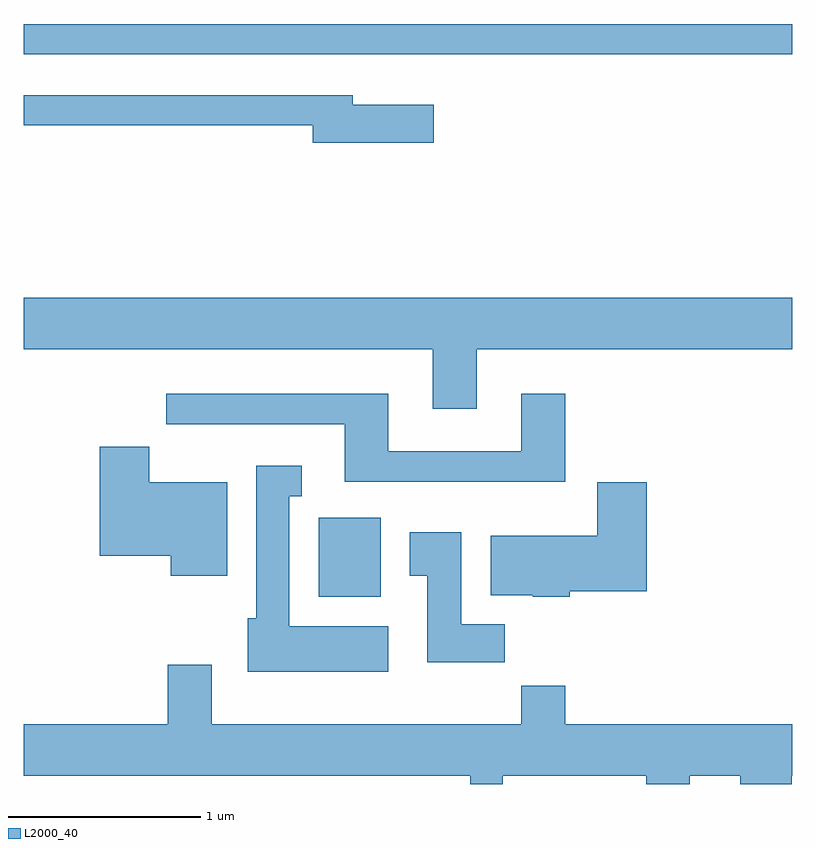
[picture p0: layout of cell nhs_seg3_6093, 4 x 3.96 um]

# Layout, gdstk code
import gdstk
lib = gdstk.Library(unit=1e-6, precision=1e-09)
def R(c, l, rs):  # rectangles x0, y0, x1, y1
    for r in rs: c.add(gdstk.rectangle(r[:2], r[2:], *l))
def P(c, l, *ps):  # polygons
    for p in ps: c.add(gdstk.Polygon(p, *l))
L2000_40 = (2000, 40)

nhs_seg3_6093 = lib.new_cell('nhs_seg3_6093')
R(nhs_seg3_6093, L2000_40, [(365.146,1206.866,365.469,1207.279), (363.611,1209.691,367.611,1209.849)])
P(nhs_seg3_6093, L2000_40, [(365.744,1209.429),(365.324,1209.429),(365.324,1209.479),(363.611,1209.479),(363.611,1209.321),(365.116,1209.321),(365.116,1209.231),(365.744,1209.231)],
  [(365.969,1208.156),(367.611,1208.156),(367.611,1208.424),(363.611,1208.424),(363.611,1208.156),(365.741,1208.156),(365.741,1207.846),(365.969,1207.846)],
  [(366.429,1207.924),(366.201,1207.924),(366.201,1207.624),(365.509,1207.624),(365.509,1207.924),(364.353,1207.924),(364.353,1207.766),(365.281,1207.766),(365.281,1207.466),(366.429,1207.466)],
  [(364.669,1207.464),(364.264,1207.464),(364.264,1207.649),(364.006,1207.649),(364.006,1207.081),(364.376,1207.081),(364.376,1206.976),(364.669,1206.976)],
  [(365.509,1206.714),(364.994,1206.714),(364.994,1207.391),(365.058,1207.391),(365.058,1207.549),(364.821,1207.549),(364.821,1206.754),(364.776,1206.754),(364.776,1206.476),(365.509,1206.476)],
  [(366.454,1206.896),(366.854,1206.896),(366.854,1207.464),(366.596,1207.464),(366.596,1207.184),(366.041,1207.184),(366.041,1206.876),(366.26,1206.876),(366.26,1206.866),(366.454,1206.866)],
  [(366.114,1206.724),(365.889,1206.724),(365.889,1207.204),(365.621,1207.204),(365.621,1206.976),(365.711,1206.976),(365.711,1206.526),(366.114,1206.526)],
  [(366.104,1205.936),(366.851,1205.936),(366.851,1205.892),(367.079,1205.892),(367.079,1205.936),(367.341,1205.936),(367.341,1205.892),(367.609,1205.892),(367.609,1205.936),(367.611,1205.936),(367.611,1206.204),(366.429,1206.204),(366.429,1206.404),(366.201,1206.404),(366.201,1206.204),(364.589,1206.204),(364.589,1206.514),(364.361,1206.514),(364.361,1206.204),(363.611,1206.204),(363.611,1205.936),(365.936,1205.936),(365.936,1205.892),(366.104,1205.892)])

lib.write_gds('nhs_seg3_6093.gds')
